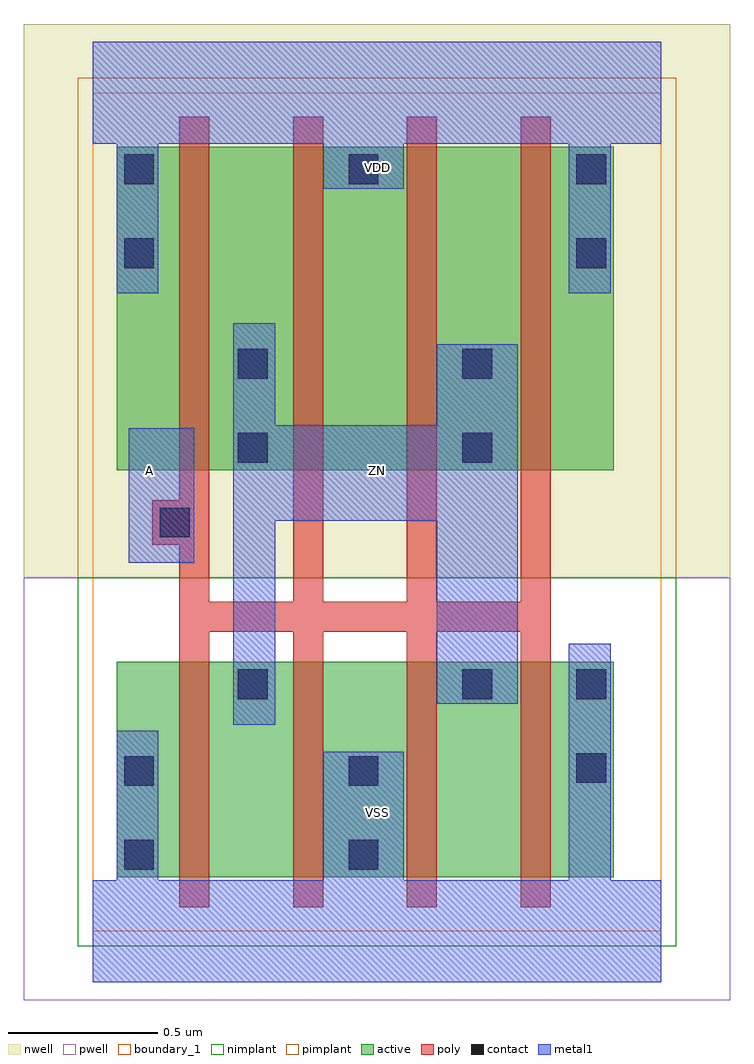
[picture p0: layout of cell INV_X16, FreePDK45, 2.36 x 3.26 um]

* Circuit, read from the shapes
.subckt INV_X16 A VDD VSS ZN
M1 ZN A VSS VSUBS nfet w=0.72u l=0.1u m=4
M2 ZN A VDD n1 pfet w=1.08u l=0.1u m=4
.ends

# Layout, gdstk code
import gdstk
lib = gdstk.Library(unit=1e-6, precision=1e-09)
def R(c, l, rs):  # rectangles x0, y0, x1, y1
    for r in rs: c.add(gdstk.rectangle(r[:2], r[2:], *l))
def P(c, l, *ps):  # polygons
    for p in ps: c.add(gdstk.Polygon(p, *l))
active = (1, 0)
pwell = (2, 0)
nwell = (3, 0)
nimplant = (4, 0)
pimplant = (5, 0)
poly = (9, 0)
contact = (10, 0)
metal1 = (11, 0)
boundary_1 = (235, 1)

inv_x16 = lib.new_cell('INV_X16')
R(inv_x16, active, [(0.08,0.18,1.74,0.9), (0.08,1.54,1.74,2.62)])
R(inv_x16, pwell, [(-0.23,-0.23,2.13,1.18)])
R(inv_x16, nwell, [(-0.23,1.18,2.13,3.03)])
R(inv_x16, nimplant, [(-0.05,-0.05,1.95,1.18)])
R(inv_x16, pimplant, [(-0.05,1.18,1.95,2.85)])
P(inv_x16, poly, [(0.2,1.29),(0.29,1.29),(0.29,0.08),(0.39,0.08),(0.39,1),(0.67,1),(0.67,0.08),(0.77,0.08),(0.77,1),(1.05,1),(1.05,0.08),(1.15,0.08),(1.15,1),(1.43,1),(1.43,0.08),(1.53,0.08),(1.53,2.72),(1.43,2.72),(1.43,1.1),(1.15,1.1),(1.15,2.72),(1.05,2.72),(1.05,1.1),(0.77,1.1),(0.77,2.72),(0.67,2.72),(0.67,1.1),(0.39,1.1),(0.39,2.72),(0.29,2.72),(0.29,1.44),(0.2,1.44)])
R(inv_x16, contact, [(0.105,0.205,0.205,0.305), (0.855,0.205,0.955,0.305), (0.105,0.485,0.205,0.585), (0.855,0.485,0.955,0.585), (1.615,0.495,1.715,0.595), (0.485,0.775,0.585,0.875), (1.235,0.775,1.335,0.875), (1.615,0.775,1.715,0.875), (0.225,1.315,0.325,1.415), (0.485,1.565,0.585,1.665), (1.235,1.565,1.335,1.665), (0.485,1.845,0.585,1.945), (1.235,1.845,1.335,1.945), (0.105,2.215,0.205,2.315), (1.615,2.215,1.715,2.315), (0.105,2.495,0.205,2.595), (0.855,2.495,0.955,2.595), (1.615,2.495,1.715,2.595)])
R(inv_x16, metal1, [(0.12,1.23,0.34,1.68), (0.12,1.23,0.34,1.68)])
P(inv_x16, metal1, [(0.47,0.69),(0.61,0.69),(0.61,1.37),(1.15,1.37),(1.15,0.76),(1.42,0.76),(1.42,1.96),(1.15,1.96),(1.15,1.69),(0.61,1.69),(0.61,2.03),(0.47,2.03)],
  [(0,-0.17),(1.9,-0.17),(1.9,0.17),(1.73,0.17),(1.73,0.96),(1.59,0.96),(1.59,0.17),(1.04,0.17),(1.04,0.6),(0.77,0.6),(0.77,0.17),(0.22,0.17),(0.22,0.67),(0.08,0.67),(0.08,0.17),(0,0.17)],
  [(0,2.63),(0.08,2.63),(0.08,2.13),(0.22,2.13),(0.22,2.63),(0.77,2.63),(0.77,2.48),(1.04,2.48),(1.04,2.63),(1.59,2.63),(1.59,2.13),(1.73,2.13),(1.73,2.63),(1.9,2.63),(1.9,2.97),(0,2.97)],
  [(0,2.63),(0.08,2.63),(0.08,2.13),(0.22,2.13),(0.22,2.63),(0.77,2.63),(0.77,2.48),(1.04,2.48),(1.04,2.63),(1.59,2.63),(1.59,2.13),(1.73,2.13),(1.73,2.63),(1.9,2.63),(1.9,2.97),(0,2.97)],
  [(0,-0.17),(1.9,-0.17),(1.9,0.17),(1.73,0.17),(1.73,0.96),(1.59,0.96),(1.59,0.17),(1.04,0.17),(1.04,0.6),(0.77,0.6),(0.77,0.17),(0.22,0.17),(0.22,0.67),(0.08,0.67),(0.08,0.17),(0,0.17)],
  [(0.47,0.69),(0.61,0.69),(0.61,1.37),(1.15,1.37),(1.15,0.76),(1.42,0.76),(1.42,1.96),(1.15,1.96),(1.15,1.69),(0.61,1.69),(0.61,2.03),(0.47,2.03)])
R(inv_x16, boundary_1, [(0,0,1.9,2.8)])
inv_x16.add(gdstk.Label('ZN', (0.95,1.54), layer=11, texttype=0))
inv_x16.add(gdstk.Label('VSS', (0.95,0.395), layer=11, texttype=0))
inv_x16.add(gdstk.Label('VDD', (0.95,2.55), layer=11, texttype=0))
inv_x16.add(gdstk.Label('A', (0.19,1.54), layer=11, texttype=0))

lib.write_gds('INV_X16.gds')
